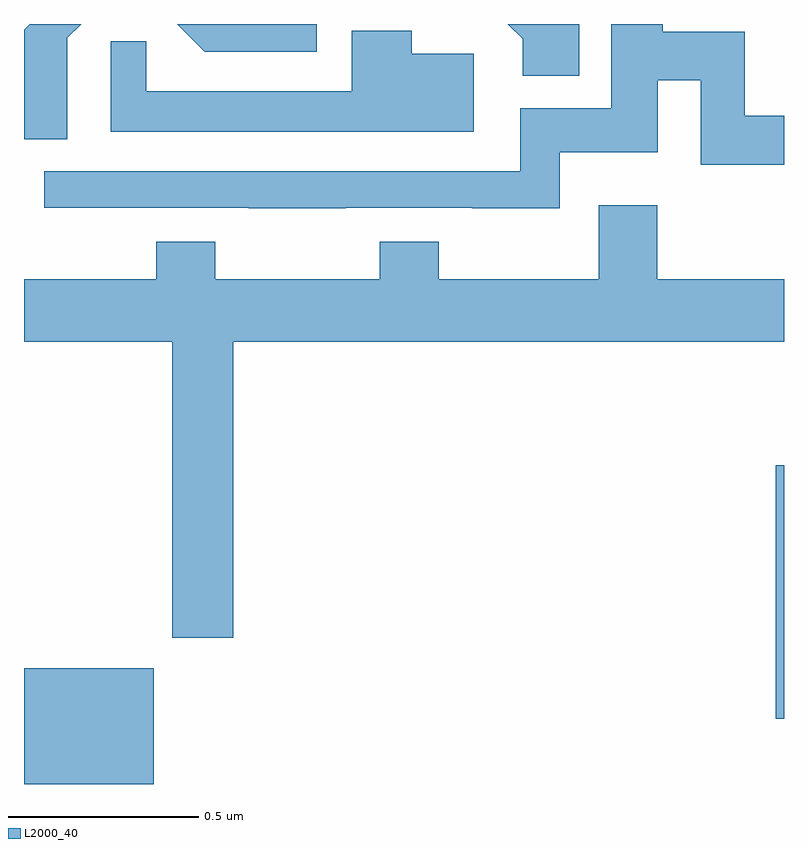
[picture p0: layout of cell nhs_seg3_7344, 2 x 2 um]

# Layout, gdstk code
import gdstk
lib = gdstk.Library(unit=1e-6, precision=1e-09)
def R(c, l, rs):  # rectangles x0, y0, x1, y1
    for r in rs: c.add(gdstk.rectangle(r[:2], r[2:], *l))
def P(c, l, *ps):  # polygons
    for p in ps: c.add(gdstk.Polygon(p, *l))
L2000_40 = (2000, 40)

nhs_seg3_7344 = lib.new_cell('nhs_seg3_7344')
R(nhs_seg3_7344, L2000_40, [(202,718.4,202.342,718.705), (203.978,718.572,204,719.239)])
P(nhs_seg3_7344, L2000_40, [(202.114,720.364),(202.15,720.4),(202.015,720.4),(202,720.385),(202,720.097),(202.114,720.097)],
  [(202.771,720.4),(202.403,720.4),(202.476,720.327),(202.771,720.327)],
  [(202.847,719.916),(203.179,719.916),(203.179,719.915),(203.41,719.915),(203.41,720.062),(203.668,720.062),(203.668,720.252),(203.781,720.252),(203.781,720.03),(204,720.03),(204,720.158),(203.897,720.158),(203.897,720.38),(203.681,720.38),(203.681,720.4),(203.546,720.4),(203.546,720.178),(203.306,720.178),(203.306,720.012),(202.053,720.012),(202.053,719.916),(202.591,719.916),(202.591,719.915),(202.847,719.915)],
  [(203.461,720.4),(203.273,720.4),(203.312,720.361),(203.312,720.264),(203.461,720.264)],
  [(203.184,720.322),(203.02,720.322),(203.02,720.382),(202.862,720.382),(202.862,720.223),(202.322,720.223),(202.322,720.355),(202.228,720.355),(202.228,720.116),(203.184,720.116)],
  [(202.55,719.564),(204,719.564),(204,719.728),(203.666,719.728),(203.666,719.923),(203.513,719.923),(203.513,719.728),(203.091,719.728),(203.091,719.827),(202.936,719.827),(202.936,719.728),(202.503,719.728),(202.503,719.827),(202.348,719.827),(202.348,719.728),(202,719.728),(202,719.564),(202.39,719.564),(202.39,718.785),(202.55,718.785)])

lib.write_gds('nhs_seg3_7344.gds')
